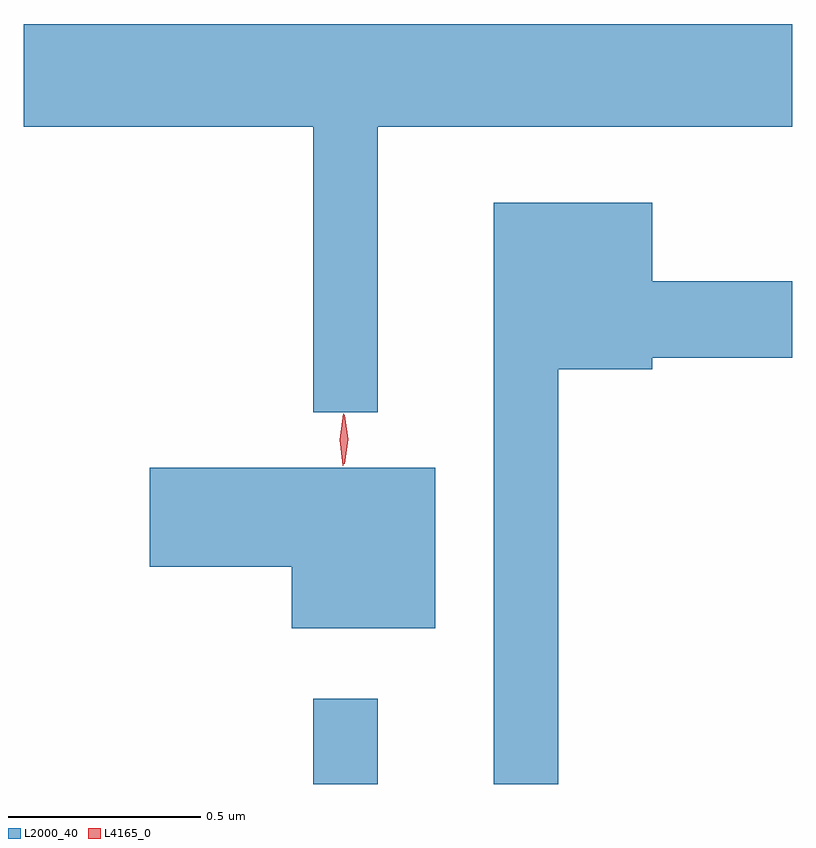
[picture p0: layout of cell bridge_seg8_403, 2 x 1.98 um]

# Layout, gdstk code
import gdstk
lib = gdstk.Library(unit=1e-6, precision=1e-09)
def R(c, l, rs):  # rectangles x0, y0, x1, y1
    for r in rs: c.add(gdstk.rectangle(r[:2], r[2:], *l))
def P(c, l, *ps):  # polygons
    for p in ps: c.add(gdstk.Polygon(p, *l))
L2000_40 = (2000, 40)
L4165_0 = (4165, 0)

bridge_seg8_403 = lib.new_cell('bridge_seg8_403')
R(bridge_seg8_403, L2000_40, [(766.651,1890.206,766.819,1890.428)])
P(bridge_seg8_403, L2000_40, [(765.898,1891.916),(766.651,1891.916),(766.651,1891.173),(766.819,1891.173),(766.819,1891.916),(767.898,1891.916),(767.898,1892.184),(765.898,1892.184)],
  [(767.289,1891.286),(767.534,1891.286),(767.534,1891.316),(767.898,1891.316),(767.898,1891.514),(767.534,1891.514),(767.534,1891.719),(767.121,1891.719),(767.121,1890.206),(767.289,1890.206)],
  [(766.969,1891.029),(766.226,1891.029),(766.226,1890.771),(766.596,1890.771),(766.596,1890.611),(766.969,1890.611)])
P(bridge_seg8_403, L4165_0, [(766.732,1891.04),(766.723,1891.103),(766.732,1891.166),(766.733,1891.167),(766.733,1891.166),(766.743,1891.103),(766.733,1891.04),(766.733,1891.04)],
  [(766.728,1891.034),(766.72,1891.102),(766.73,1891.17),(766.73,1891.17),(766.731,1891.17),(766.739,1891.102),(766.729,1891.034),(766.729,1891.034)])

lib.write_gds('bridge_seg8_403.gds')
